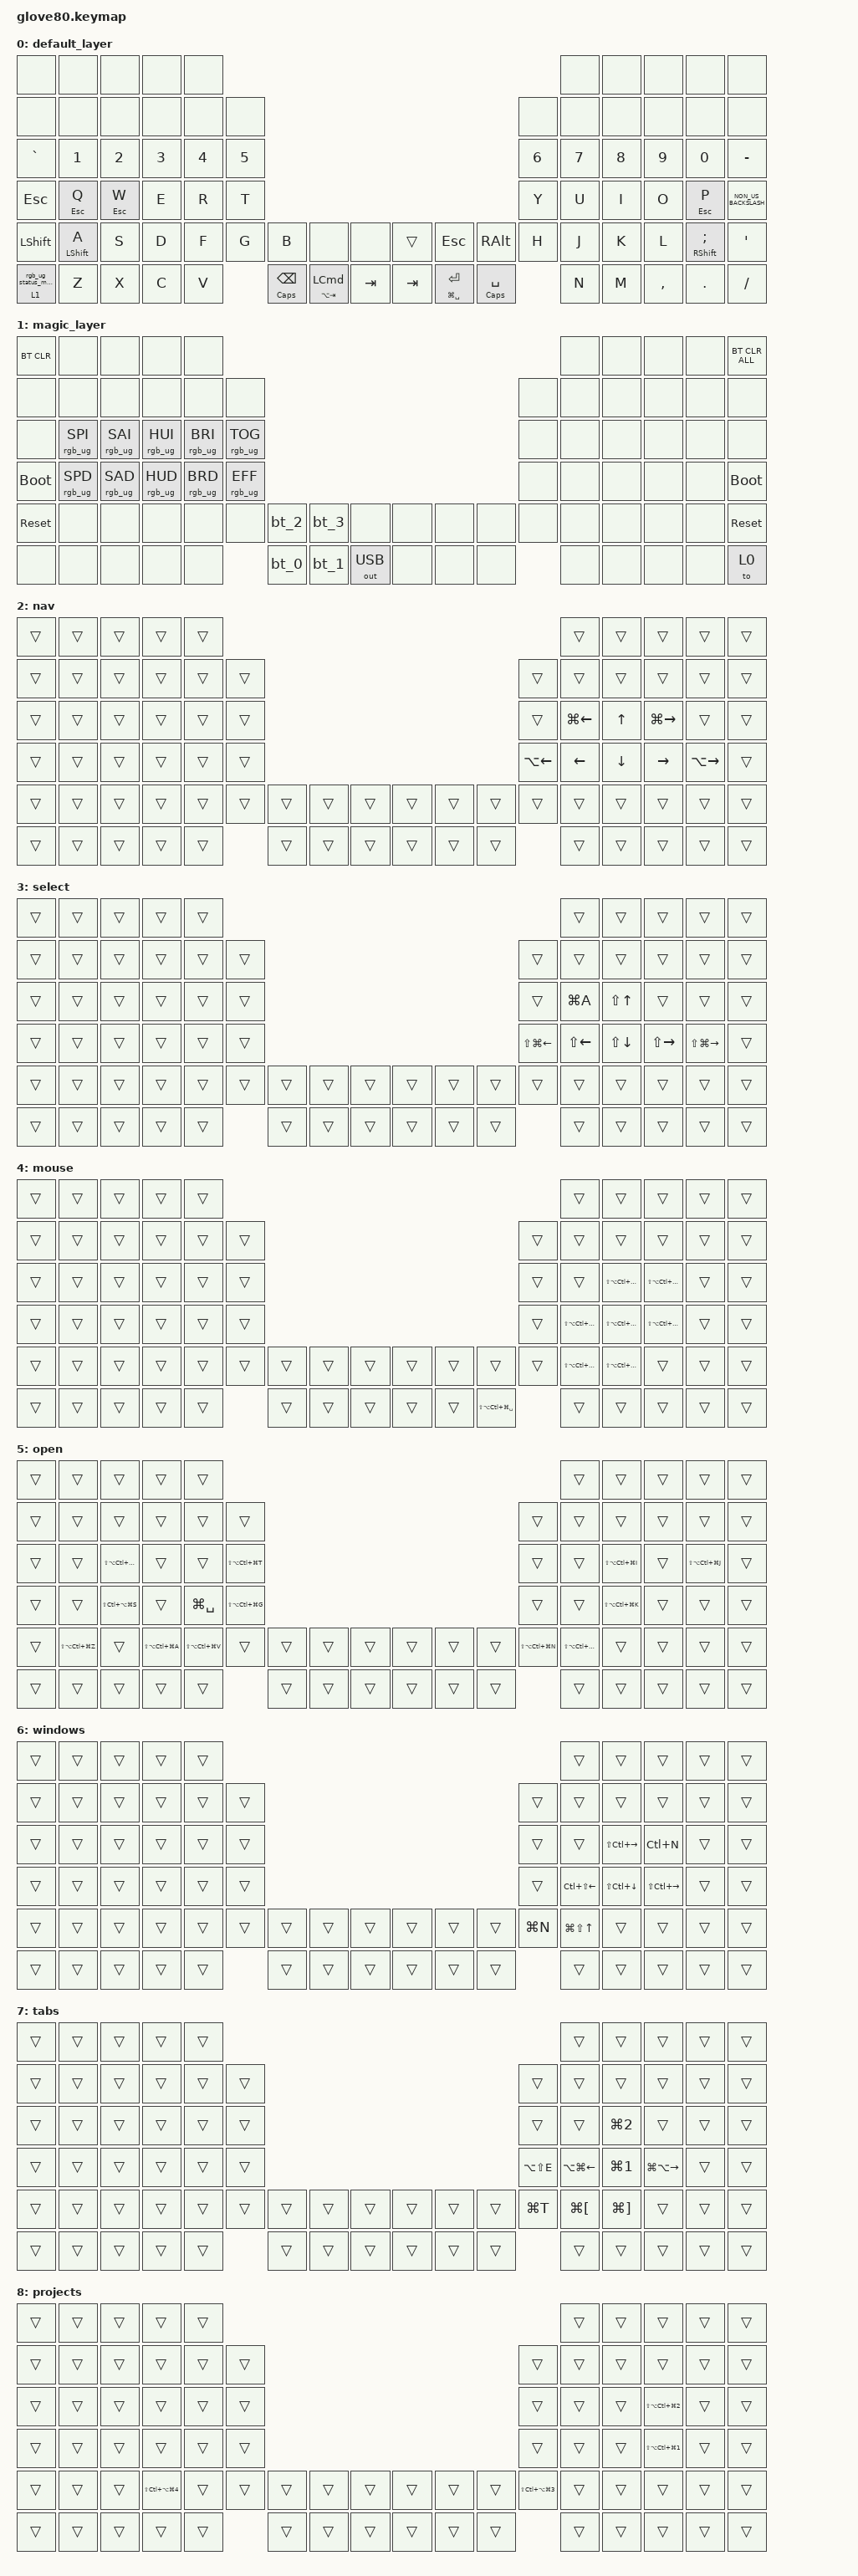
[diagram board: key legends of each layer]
/*
 * Copyright (c) 2020 The ZMK Contributors
 *
 * SPDX-License-Identifier: MIT
 */

#include <behaviors.dtsi>
#include <dt-bindings/zmk/bt.h>
#include <dt-bindings/zmk/keys.h>
#include <dt-bindings/zmk/outputs.h>
#include <dt-bindings/zmk/rgb.h>

#define HYPER LC(LS(LG(LALT)))

// layers

#define DEFAULT 0
#define LOWER 1
#define MAGIC 2
#define FACTORY_TEST 3

/ {
    behaviors {
        // For the "layer" key, it'd nice to be able to use it as either a shift or a toggle.
        // Configure it as a tap dance, so the first tap (or hold) is a &mo and the second tap is a &to

        layer_td: tap_dance_0 {
            compatible = "zmk,behavior-tap-dance";
            label = "LAYER_TAP_DANCE";
            #binding-cells = <0>;
            tapping-term-ms = <200>;
            bindings = <&mo 0>, <&to 0>;
        };

        magic: magic_hold_tap {
            compatible = "zmk,behavior-hold-tap";
            label = "MAGIC_HOLD_TAP";
            #binding-cells = <2>;
            flavor = "tap-preferred";
            tapping-term-ms = <200>;
            bindings = <&mo>, <&rgb_ug_status_macro>;
        };
    };

    macros {
        rgb_ug_status_macro: rgb_ug_status_macro_0 {
            label = "RGB_UG_STATUS";
            compatible = "zmk,behavior-macro";
            #binding-cells = <0>;
            bindings = <&rgb_ug RGB_STATUS>;
        };

        bt_0: bt_profile_macro_0 {
            label = "BT_0";
            compatible = "zmk,behavior-macro";
            #binding-cells = <0>;
            bindings = <&out OUT_BLE &bt BT_SEL 0>;
        };

        bt_1: bt_profile_macro_1 {
            label = "BT_1";
            compatible = "zmk,behavior-macro";
            #binding-cells = <0>;
            bindings = <&out OUT_BLE &bt BT_SEL 1>;
        };

        bt_2: bt_profile_macro_2 {
            label = "BT_2";
            compatible = "zmk,behavior-macro";
            #binding-cells = <0>;
            bindings = <&out OUT_BLE &bt BT_SEL 2>;
        };

        bt_3: bt_profile_macro_3 {
            label = "BT_3";
            compatible = "zmk,behavior-macro";
            #binding-cells = <0>;
            bindings = <&out OUT_BLE &bt BT_SEL 3>;
        };
    };

    keymap {
        compatible = "zmk,keymap";

        default_layer {
            // ---------------------------------------------------------------------------------------------------------------------------------
            // |  F1   |  F2 |  F3 |  F4  |  F5  |                                                               |  F6   |  F7   |  F8  |   F9  |  F10 |
            // |  =    |  1  |  2  |  3   |  4   |  5   |                                                 |  6   |   7   |   8   |  9   |   0   |   -  |
            // |  TAB  |  Q  |  W  |  E   |  R   |  T   |                                                 |  Y   |   U   |   I   |  O   |   P   |   \  |
            // |  ESC  |  A  |  S  |  D   |  F   |  G   |                                                 |  H   |   J   |   K   |  L   |   ;   |   '  |
            // |   `   |  Z  |  X  |  C   |  V   |  B   | LSHFT | LCTRL | LOWER | | LGUI  | RCTRL | RSHFT |  N   |   M   |   ,   |  .   |   /   | PGUP |
            // | MAGIC | HOME| END | LEFT | RIGHT|      | BSPC  | DEL   | LALT  | | RALT  | RET   | SPACE |      |  UP   | DOWN  |  [   |   ]   | PGDN |

            bindings = <
&none           &none             &none         &none         &none                                                                                                                                         &none   &none   &none      &none                      &none
&none           &none             &none         &none         &none         &none                                                                                                             &none         &none   &none   &none      &none                      &none
&kp GRAVE       &kp NUMBER_1      &kp NUMBER_2  &kp NUMBER_3  &kp NUMBER_4  &kp N5                                                                                                            &kp NUMBER_6  &kp N7  &kp N8  &kp N9     &kp N0                     &kp MINUS
&kp ESC         &mt ESCAPE Q      &mt ESCAPE W  &kp E         &kp R         &kp T                                                                                                             &kp Y         &kp U   &kp I   &kp O      &mt ESCAPE P               &kp NON_US_BACKSLASH
&kp LEFT_SHIFT  &mt LEFT_SHIFT A  &kp S         &kp D         &kp F         &kp G   &kp B                   &none                     &none    &trans   &kp ESCAPE            &kp RIGHT_ALT   &kp H         &kp J   &kp K   &kp L      &mt RIGHT_SHIFT SEMICOLON  &kp SQT
&magic 1 0      &kp Z             &kp X         &kp C         &kp V                 &mt CAPSLOCK BACKSPACE  &mt LA(TAB) LEFT_COMMAND  &kp TAB  &kp TAB  &mt LG(SPACE) RETURN  &mt CAPS SPACE                &kp N   &kp M   &kp COMMA  &kp PERIOD                 &kp SLASH
            >;
        };

        magic_layer {
            bindings = <
&bt BT_CLR   &none            &none            &none            &none                                                                                     &none  &none  &none  &none  &bt BT_CLR_ALL
&none        &none            &none            &none            &none            &none                                                             &none  &none  &none  &none  &none  &none
&none        &rgb_ug RGB_SPI  &rgb_ug RGB_SAI  &rgb_ug RGB_HUI  &rgb_ug RGB_BRI  &rgb_ug RGB_TOG                                                   &none  &none  &none  &none  &none  &none
&bootloader  &rgb_ug RGB_SPD  &rgb_ug RGB_SAD  &rgb_ug RGB_HUD  &rgb_ug RGB_BRD  &rgb_ug RGB_EFF                                                   &none  &none  &none  &none  &none  &bootloader
&sys_reset   &none            &none            &none            &none            &none            &bt_2  &bt_3  &none         &none  &none  &none  &none  &none  &none  &none  &none  &sys_reset
&none        &none            &none            &none            &none                             &bt_0  &bt_1  &out OUT_USB  &none  &none  &none         &none  &none  &none  &none  &to 0
            >;
        };

        nav {
            bindings = <
&trans  &trans  &trans  &trans  &trans                                                                              &trans              &trans          &trans               &trans               &trans
&trans  &trans  &trans  &trans  &trans  &trans                                                  &trans              &trans              &trans          &trans               &trans               &trans
&trans  &trans  &trans  &trans  &trans  &trans                                                  &trans              &kp LG(LEFT_ARROW)  &kp UP_ARROW    &kp LG(RIGHT_ARROW)  &trans               &trans
&trans  &trans  &trans  &trans  &trans  &trans                                                  &kp LA(LEFT_ARROW)  &kp LEFT_ARROW      &kp DOWN_ARROW  &kp RIGHT_ARROW      &kp LA(RIGHT_ARROW)  &trans
&trans  &trans  &trans  &trans  &trans  &trans  &trans  &trans  &trans  &trans  &trans  &trans  &trans              &trans              &trans          &trans               &trans               &trans
&trans  &trans  &trans  &trans  &trans          &trans  &trans  &trans  &trans  &trans  &trans                      &trans              &trans          &trans               &trans               &trans
            >;
        };

        select {
            bindings = <
&trans  &trans  &trans  &trans  &trans                                                                                  &trans              &trans              &trans               &trans                   &trans
&trans  &trans  &trans  &trans  &trans  &trans                                                  &trans                  &trans              &trans              &trans               &trans                   &trans
&trans  &trans  &trans  &trans  &trans  &trans                                                  &trans                  &kp LG(A)           &kp LS(UP_ARROW)    &trans               &trans                   &trans
&trans  &trans  &trans  &trans  &trans  &trans                                                  &kp LS(LG(LEFT_ARROW))  &kp LS(LEFT_ARROW)  &kp LS(DOWN_ARROW)  &kp LS(RIGHT_ARROW)  &kp LS(LG(RIGHT_ARROW))  &trans
&trans  &trans  &trans  &trans  &trans  &trans  &trans  &trans  &trans  &trans  &trans  &trans  &trans                  &trans              &trans              &trans               &trans                   &trans
&trans  &trans  &trans  &trans  &trans          &trans  &trans  &trans  &trans  &trans  &trans                          &trans              &trans              &trans               &trans                   &trans
            >;
        };

        mouse {
            bindings = <
&trans  &trans  &trans  &trans  &trans                                                                                     &trans                          &trans                          &trans                           &trans  &trans
&trans  &trans  &trans  &trans  &trans  &trans                                                                     &trans  &trans                          &trans                          &trans                           &trans  &trans
&trans  &trans  &trans  &trans  &trans  &trans                                                                     &trans  &trans                          &kp LS(LA(LC(LG(UP_ARROW))))    &kp LS(LA(LC(LG(O))))            &trans  &trans
&trans  &trans  &trans  &trans  &trans  &trans                                                                     &trans  &kp LS(LA(LC(LG(LEFT_ARROW))))  &kp LS(LA(LC(LG(DOWN_ARROW))))  &kp LS(LA(LC(LG(RIGHT_ARROW))))  &trans  &trans
&trans  &trans  &trans  &trans  &trans  &trans  &trans  &trans  &trans  &trans  &trans  &trans                     &trans  &kp LS(LA(LC(LG(PAGE_UP))))     &kp LS(LA(LC(LG(PAGE_DOWN))))   &trans                           &trans  &trans
&trans  &trans  &trans  &trans  &trans          &trans  &trans  &trans  &trans  &trans  &kp LS(LA(LC(LG(SPACE))))          &trans                          &trans                          &trans                           &trans  &trans
            >;
        };

        open {
            bindings = <
&trans  &trans                 &trans                 &trans                 &trans                                                                                                               &trans                 &trans                 &trans  &trans                 &trans
&trans  &trans                 &trans                 &trans                 &trans                 &trans                                                                 &trans                 &trans                 &trans                 &trans  &trans                 &trans
&trans  &trans                 &kp LS(LA(LC(LG(W))))  &trans                 &trans                 &kp LS(LA(LC(LG(T))))                                                  &trans                 &trans                 &kp LS(LA(LC(LG(I))))  &trans  &kp LS(LA(LC(LG(J))))  &trans
&trans  &trans                 &kp LS(LC(LA(LG(S))))  &trans                 &kp LG(SPACE)          &kp LS(LA(LC(LG(G))))                                                  &trans                 &trans                 &kp LS(LA(LC(LG(K))))  &trans  &trans                 &trans
&trans  &kp LS(LA(LC(LG(Z))))  &trans                 &kp LS(LA(LC(LG(A))))  &kp LS(LA(LC(LG(V))))  &trans                 &trans  &trans  &trans  &trans  &trans  &trans  &kp LS(LA(LC(LG(N))))  &kp LS(LA(LC(LG(M))))  &trans                 &trans  &trans                 &trans
&trans  &trans                 &trans                 &trans                 &trans                                        &trans  &trans  &trans  &trans  &trans  &trans                         &trans                 &trans                 &trans  &trans                 &trans
            >;
        };

        windows {
            bindings = <
&trans  &trans  &trans  &trans  &trans                                                                     &trans                  &trans                   &trans                   &trans  &trans
&trans  &trans  &trans  &trans  &trans  &trans                                                  &trans     &trans                  &trans                   &trans                   &trans  &trans
&trans  &trans  &trans  &trans  &trans  &trans                                                  &trans     &trans                  &kp LS(LC(RIGHT_ARROW))  &kp LC(N)                &trans  &trans
&trans  &trans  &trans  &trans  &trans  &trans                                                  &trans     &kp LC(LS(LEFT_ARROW))  &kp LS(LC(DOWN_ARROW))   &kp LS(LC(RIGHT_ARROW))  &trans  &trans
&trans  &trans  &trans  &trans  &trans  &trans  &trans  &trans  &trans  &trans  &trans  &trans  &kp LG(N)  &kp LG(LS(UP_ARROW))    &trans                   &trans                   &trans  &trans
&trans  &trans  &trans  &trans  &trans          &trans  &trans  &trans  &trans  &trans  &trans             &trans                  &trans                   &trans                   &trans  &trans
            >;
        };

        tabs {
            bindings = <
&trans  &trans  &trans  &trans  &trans                                                                         &trans                &trans                 &trans                   &trans  &trans
&trans  &trans  &trans  &trans  &trans  &trans                                                  &trans         &trans                &trans                 &trans                   &trans  &trans
&trans  &trans  &trans  &trans  &trans  &trans                                                  &trans         &trans                &kp LG(NUMBER_2)       &trans                   &trans  &trans
&trans  &trans  &trans  &trans  &trans  &trans                                                  &kp LA(LS(E))  &kp LA(LG(LEFT))      &kp LG(NUMBER_1)       &kp LG(LA(RIGHT_ARROW))  &trans  &trans
&trans  &trans  &trans  &trans  &trans  &trans  &trans  &trans  &trans  &trans  &trans  &trans  &kp LG(T)      &kp LG(LEFT_BRACKET)  &kp LG(RIGHT_BRACKET)  &trans                   &trans  &trans
&trans  &trans  &trans  &trans  &trans          &trans  &trans  &trans  &trans  &trans  &trans                 &trans                &trans                 &trans                   &trans  &trans
            >;
        };

        projects {
            bindings = <
&trans  &trans  &trans  &trans                        &trans                                                                                        &trans  &trans  &trans                        &trans  &trans
&trans  &trans  &trans  &trans                        &trans  &trans                                                  &trans                        &trans  &trans  &trans                        &trans  &trans
&trans  &trans  &trans  &trans                        &trans  &trans                                                  &trans                        &trans  &trans  &kp LS(LA(LC(LG(NUMBER_2))))  &trans  &trans
&trans  &trans  &trans  &trans                        &trans  &trans                                                  &trans                        &trans  &trans  &kp LS(LA(LC(LG(NUMBER_1))))  &trans  &trans
&trans  &trans  &trans  &kp LS(LC(LA(LG(NUMBER_4))))  &trans  &trans  &trans  &trans  &trans  &trans  &trans  &trans  &kp LS(LC(LA(LG(NUMBER_3))))  &trans  &trans  &trans                        &trans  &trans
&trans  &trans  &trans  &trans                        &trans          &trans  &trans  &trans  &trans  &trans  &trans                                &trans  &trans  &trans                        &trans  &trans
            >;
        };
    };
};
